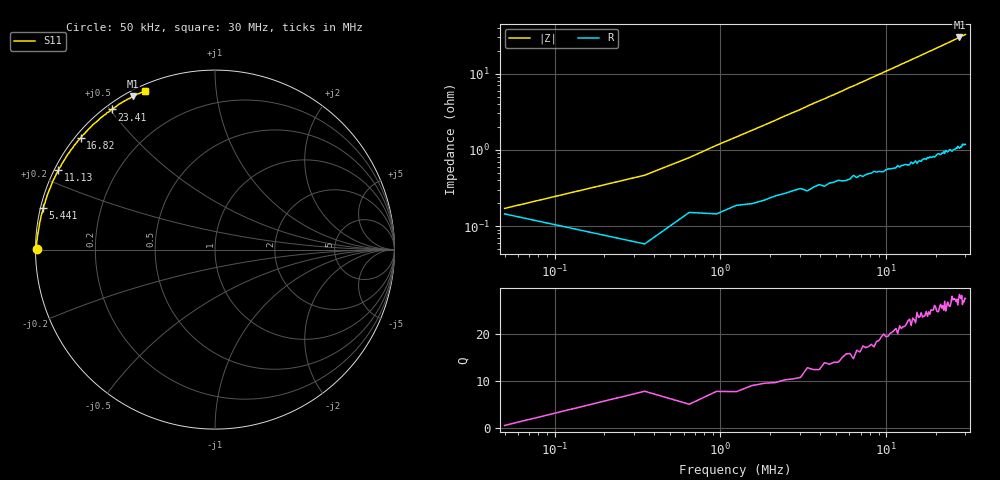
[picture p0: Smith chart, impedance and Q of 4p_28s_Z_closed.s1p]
# HZ S RI R 50
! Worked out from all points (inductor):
!   101 points, 50 kHz to 30 MHz, reference 50 ohm
!   read as one part to ground: L = 191 nH near 349.5 kHz
!   highest Q = 28.1 at 27.6 MHz (marker M1), where L = 173 nH
!   S11 on the Smith chart (normalised r, x): 50 kHz: 0.00, +0.00; 5.441 MHz: 0.01, +0.12; 11.13 MHz: 0.01, +0.24; 16.82 MHz: 0.02, +0.36; 23.41 MHz: 0.02, +0.50; 30 MHz: 0.02, +0.65
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50000  -0.9942 0.0036
349500  -0.9975 0.0184
3344500  -0.9776 0.1468
3943500  -0.9712 0.1713
5441000  -0.9574 0.2302
6040000  -0.95 0.2557
7537500  -0.9309 0.3117
9334500  -0.9042 0.3788
1.11315e7  -0.872 0.4439
1.1431e7  -0.8666 0.4542
1.35275e7  -0.825 0.5232
1.5025e7  -0.7903 0.5699
1.53245e7  -0.7858 0.5793
1.6822e7  -0.7485 0.6226
1.802e7  -0.7184 0.6565
1.89185e7  -0.6976 0.6779
1.95175e7  -0.6812 0.6949
2.13145e7  -0.634 0.7365
2.2213e7  -0.6095 0.7541
2.25125e7  -0.6013 0.7629
2.2812e7  -0.5926 0.7665
2.3411e7  -0.5764 0.7808
2.49085e7  -0.5346 0.8103
2.6406e7  -0.4931 0.8337
2.7604e7  -0.458 0.8546
2.8203e7  -0.4387 0.8632
2.91015e7  -0.4169 0.8728
3e7  -0.3893 0.8857
